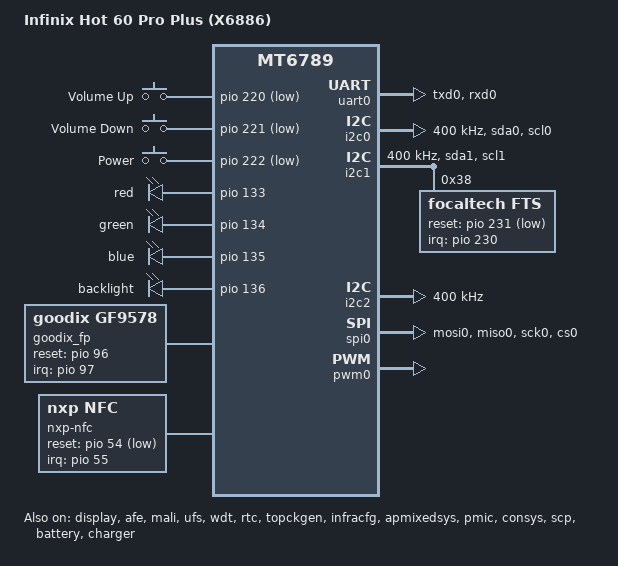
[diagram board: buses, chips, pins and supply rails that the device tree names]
// SPDX-License-Identifier: GPL-2.0
// Device Tree Source for Infinix Hot 60 Pro Plus (X6886) - Device Level

/dts-v1/;
#include "mt6789.dtsi"

/ {
    model = "Infinix Hot 60 Pro Plus (X6886)";
    compatible = "infinix,hot60proplus", "infinix,x6886", "mediatek,mt6789";

    chosen {
        bootargs = "console=tty0 root=/dev/ram0 androidboot.hardware=mt6789 androidboot.console=tty0";
    };

    reserved-memory {
        #address-cells = <2>;
        #size-cells = <2>;
        ranges;

        modem_mem: modem@43e00000 { reg = <0x0 0x43e00000 0x0 0x4c00000>; no-map; };
        tee_mem: tee@48a00000 { reg = <0x0 0x48a00000 0x0 0x2000000>; no-map; };
        scp_mem: scp@4aa00000 { reg = <0x0 0x4aa00000 0x0 0x2000000>; no-map; };
        gpu_mem: gpu@4ca00000 { reg = <0x0 0x4ca00000 0x0 0x1000000>; no-map; };
        svp_mem: svp@4da00000 { reg = <0x0 0x4da00000 0x0 0x2000000>; no-map; };
        fb_reserved: framebuffer@50000000 { reg = <0x0 0x50000000 0x0 0x800000>; no-map; };
        logo_reserved: logo@50800000 { reg = <0x0 0x50800000 0x0 0x200000>; no-map; };
    };

    gpio-keys {
        compatible = "gpio-keys";

        volume_up {
            label = "Volume Up";
            linux,code = <115>;
            gpios = <&pio 220 GPIO_ACTIVE_LOW>;
            debounce-interval = <50>;
            wakeup-source;
        };

        volume_down {
            label = "Volume Down";
            linux,code = <114>;
            gpios = <&pio 221 GPIO_ACTIVE_LOW>;
            debounce-interval = <50>;
            wakeup-source;
        };

        power {
            label = "Power";
            linux,code = <116>;
            gpios = <&pio 222 GPIO_ACTIVE_LOW>;
            debounce-interval = <50>;
            wakeup-source;
        };
    };

    leds {
        compatible = "gpio-leds";

        red {
            label = "red";
            gpios = <&pio 133 GPIO_ACTIVE_HIGH>;
            default-state = "off";
            max-brightness = <255>;
        };

        green {
            label = "green";
            gpios = <&pio 134 GPIO_ACTIVE_HIGH>;
            default-state = "off";
            max-brightness = <255>;
        };

        blue {
            label = "blue";
            gpios = <&pio 135 GPIO_ACTIVE_HIGH>;
            default-state = "off";
            max-brightness = <255>;
        };

        backlight {
            label = "backlight";
            gpios = <&pio 136 GPIO_ACTIVE_HIGH>;
            default-state = "on";
            max-brightness = <2047>;
        };
    };

    goodix_fp: goodix_fp {
        compatible = "goodix,gf9578";
        spi-max-frequency = <1000000>;
        reset-gpios = <&pio 96 GPIO_ACTIVE_HIGH>;
        irq-gpios = <&pio 97 GPIO_ACTIVE_HIGH>;
        status = "okay";
    };

    nxp-nfc {
        compatible = "nxp,nfc";
        reset-gpios = <&pio 54 GPIO_ACTIVE_LOW>;
        irq-gpios = <&pio 55 GPIO_ACTIVE_HIGH>;
        status = "okay";
    };
};

&pio {
    uart0_pins: uart0-default { pins-gpio { mux { function = "uart0"; pins = "txd0", "rxd0"; }; }; };
    i2c0_pins: i2c0-default { pins-gpio { mux { function = "i2c0"; pins = "sda0", "scl0"; }; }; };
    i2c1_pins: i2c1-default { pins-gpio { mux { function = "i2c1"; pins = "sda1", "scl1"; }; }; };
    spi0_pins: spi0-default { pins-gpio { mux { function = "spi0"; pins = "mosi0", "miso0", "sck0", "cs0"; }; }; };
    fp_pins: fp-pins { pins-gpio { mux { pins = "gpio96", "gpio97"; function = "gpio"; }; }; };
    nfc_pins: nfc-pins { pins-gpio { mux { pins = "gpio54", "gpio55"; function = "gpio"; }; }; };
    tp_pins: tp-pins { pins-gpio { mux { pins = "gpio230", "gpio231"; function = "gpio"; }; }; };
};

&uart0 { status = "okay"; pinctrl-names = "default"; pinctrl-0 = <&uart0_pins>; };

&i2c0 { status = "okay"; pinctrl-names = "default"; pinctrl-0 = <&i2c0_pins>; clock-frequency = <400000>; };

&i2c1 {
    status = "okay";
    pinctrl-names = "default";
    pinctrl-0 = <&i2c1_pins>;
    clock-frequency = <400000>;

    focaltech@38 {
        compatible = "focaltech,fts";
        reg = <0x38>;
        interrupt-parent = <&pio>;
        interrupts = <230 IRQ_TYPE_EDGE_FALLING>;
        reset-gpios = <&pio 231 GPIO_ACTIVE_LOW>;
        focaltech,touch-max-x = <1224>;
        focaltech,touch-max-y = <2720>;
        focaltech,max-touch-number = <10>;
    };
};

&i2c2 { status = "okay"; pinctrl-names = "default"; pinctrl-0 = <&i2c2_pins>; clock-frequency = <400000>; };
&spi0 { status = "okay"; pinctrl-names = "default"; pinctrl-0 = <&spi0_pins>; spi-max-frequency = <52000000>; };
&display { status = "okay"; };
&afe { status = "okay"; };
&mali { status = "okay"; };
&ufs { status = "okay"; };
&wdt { status = "okay"; };
&rtc { status = "okay"; };
&topckgen { status = "okay"; };
&infracfg { status = "okay"; };
&apmixedsys { status = "okay"; };
&mtkpower { status = "okay"; };
&pmic { status = "okay"; };
&consys { status = "okay"; };
&scp { status = "okay"; };
&battery { status = "okay"; };
&charger { status = "okay"; };
&keys { status = "okay"; };
&pwm0 { status = "okay"; };
